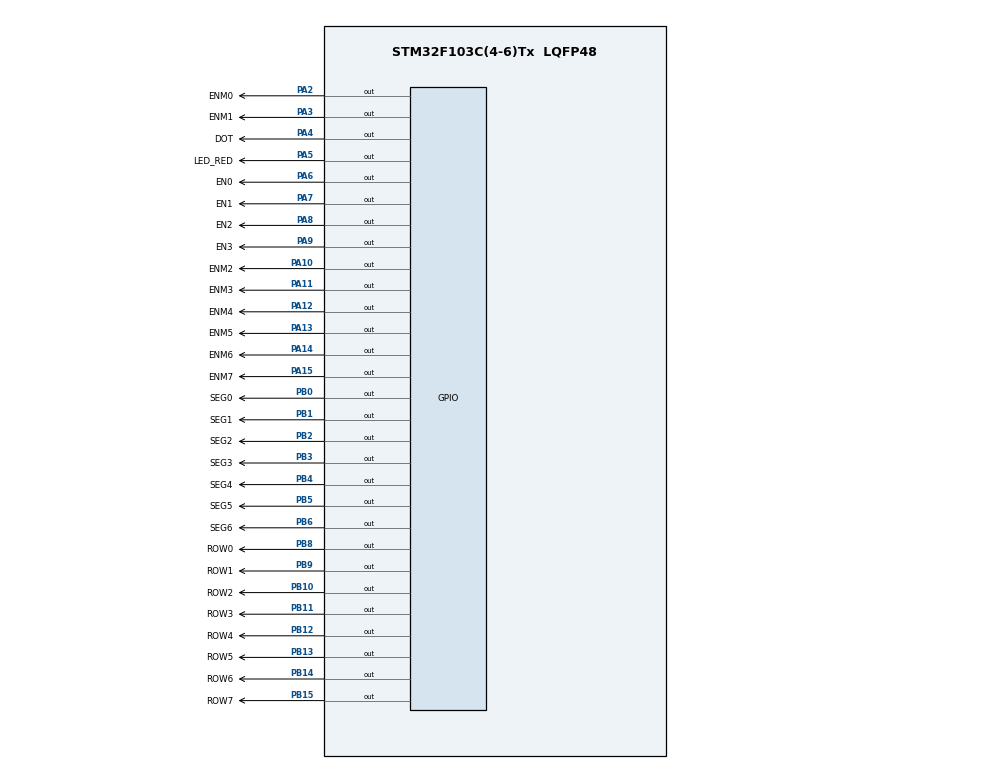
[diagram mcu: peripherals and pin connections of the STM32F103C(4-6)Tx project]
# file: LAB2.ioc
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Mcu.Family=STM32F1
Mcu.Name=STM32F103C(4-6)Tx
Mcu.Package=LQFP48
NVIC.PriorityGroup=NVIC_PRIORITYGROUP_4
NVIC.TIM2_IRQn=true\:0\:0\:false\:false\:true\:true\:true
PA10.GPIO_Label=ENM2
PA10.Signal=GPIO_Output
PA11.GPIO_Label=ENM3
PA11.Signal=GPIO_Output
PA12.GPIO_Label=ENM4
PA12.Signal=GPIO_Output
PA13.GPIO_Label=ENM5
PA13.Signal=GPIO_Output
PA14.GPIO_Label=ENM6
PA14.Signal=GPIO_Output
PA15.GPIO_Label=ENM7
PA15.Signal=GPIO_Output
PA2.GPIO_Label=ENM0
PA2.Signal=GPIO_Output
PA3.GPIO_Label=ENM1
PA3.Signal=GPIO_Output
PA4.GPIO_Label=DOT
PA4.Signal=GPIO_Output
PA5.GPIO_Label=LED_RED
PA5.Signal=GPIO_Output
PA6.GPIO_Label=EN0
PA6.Signal=GPIO_Output
PA7.GPIO_Label=EN1
PA7.Signal=GPIO_Output
PA8.GPIO_Label=EN2
PA8.Signal=GPIO_Output
PA9.GPIO_Label=EN3
PA9.Signal=GPIO_Output
PB0.GPIO_Label=SEG0
PB0.Signal=GPIO_Output
PB1.GPIO_Label=SEG1
PB1.Signal=GPIO_Output
PB10.GPIO_Label=ROW2
PB10.Signal=GPIO_Output
PB11.GPIO_Label=ROW3
PB11.Signal=GPIO_Output
PB12.GPIO_Label=ROW4
PB12.Signal=GPIO_Output
PB13.GPIO_Label=ROW5
PB13.Signal=GPIO_Output
PB14.GPIO_Label=ROW6
PB14.Signal=GPIO_Output
PB15.GPIO_Label=ROW7
PB15.Signal=GPIO_Output
PB2.GPIO_Label=SEG2
PB2.Signal=GPIO_Output
PB3.GPIO_Label=SEG3
PB3.Signal=GPIO_Output
PB4.GPIO_Label=SEG4
PB4.Signal=GPIO_Output
PB5.GPIO_Label=SEG5
PB5.Signal=GPIO_Output
PB6.GPIO_Label=SEG6
PB6.Signal=GPIO_Output
PB8.GPIO_Label=ROW0
PB8.Signal=GPIO_Output
PB9.GPIO_Label=ROW1
PB9.Signal=GPIO_Output
ProjectManager.HeapSize=0x200
ProjectManager.StackSize=0x400
ProjectManager.TargetToolchain=STM32CubeIDE
RCC.APB1Freq_Value=8000000
RCC.APB2Freq_Value=8000000
TIM2.Period=9
TIM2.Prescaler=7999
VP_SYS_VS_ND.Mode=No_Debug
VP_TIM2_VS_ClockSourceINT.Mode=Internal
board=custom

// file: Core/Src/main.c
/* USER CODE BEGIN Header */
/**
  ******************************************************************************
  * @file           : main.c
  * @brief          : Main program body
  ******************************************************************************
  * @attention
  *
  * <h2><center>&copy; Copyright (c) 2024 STMicroelectronics.
  * All rights reserved.</center></h2>
  *
  * This software component is licensed by ST under BSD 3-Clause license,
  * the "License"; You may not use this file except in compliance with the
  * License. You may obtain a copy of the License at:
  *                        opensource.org/licenses/BSD-3-Clause
  *
  ******************************************************************************
  */
/* USER CODE END Header */
#include "main.h"

/* USER CODE BEGIN Includes */
#include "7_segment_led.h"
#include "matrix_led.h"
#include "timer.h"
/* USER CODE END Includes */

TIM_HandleTypeDef htim2;

void SystemClock_Config(void);
static void MX_TIM2_Init(void);
static void MX_GPIO_Init(void);

int main(void)
{

  /* MCU Configuration--------------------------------------------------------*/

  /* Reset of all peripherals, Initializes the Flash interface and the Systick. */
  HAL_Init();

  /* Configure the system clock */
  SystemClock_Config();

  /* Initialize all configured peripherals */
  MX_TIM2_Init();
  MX_GPIO_Init();
  /* USER CODE BEGIN 2 */
  HAL_TIM_Base_Start_IT(&htim2);
  resetAllColumns();
  setTimer(0, 0);
  setTimer(1, 0);
  int idx_col = 0;
  int shiftCounter = 0;
  /* USER CODE END 2 */

  /* Infinite loop */
  while (1)
  {

    /* USER CODE BEGIN 3 */
	  if (timer_flag[0] == 1) {
		  setTimer(0, 2);
		  updateLEDMatrix(idx_col);
		  idx_col++;
		  if (idx_col >= 8) {
			  idx_col = 0;
		  }
	  }
	  if (timer_flag[1] == 1) {
		  setTimer(1, 50);
		  shiftCounter++;
		  if (shiftCounter > 10) {
			  shiftLeft();
			  shiftCounter = 0;
		  }
	  }
  }
  /* USER CODE END 3 */
}

void SystemClock_Config(void)
{
  RCC_OscInitTypeDef RCC_OscInitStruct = {0};
  RCC_ClkInitTypeDef RCC_ClkInitStruct = {0};

  /** Initializes the RCC Oscillators according to the specified parameters
  * in the RCC_OscInitTypeDef structure.
  */
  RCC_OscInitStruct.OscillatorType = RCC_OSCILLATORTYPE_HSI;
  RCC_OscInitStruct.HSIState = RCC_HSI_ON;
  RCC_OscInitStruct.HSICalibrationValue = RCC_HSICALIBRATION_DEFAULT;
  RCC_OscInitStruct.PLL.PLLState = RCC_PLL_NONE;
  if (HAL_RCC_OscConfig(&RCC_OscInitStruct) != HAL_OK)
  {
    Error_Handler();
  }
  /** Initializes the CPU, AHB and APB buses clocks
  */
  RCC_ClkInitStruct.ClockType = RCC_CLOCKTYPE_HCLK|RCC_CLOCKTYPE_SYSCLK
                              |RCC_CLOCKTYPE_PCLK1|RCC_CLOCKTYPE_PCLK2;
  RCC_ClkInitStruct.SYSCLKSource = RCC_SYSCLKSOURCE_HSI;
  RCC_ClkInitStruct.AHBCLKDivider = RCC_SYSCLK_DIV1;
  RCC_ClkInitStruct.APB1CLKDivider = RCC_HCLK_DIV1;
  RCC_ClkInitStruct.APB2CLKDivider = RCC_HCLK_DIV1;

  if (HAL_RCC_ClockConfig(&RCC_ClkInitStruct, FLASH_LATENCY_0) != HAL_OK)
  {
    Error_Handler();
  }
}

static void MX_TIM2_Init(void)
{

  TIM_ClockConfigTypeDef sClockSourceConfig = {0};
  TIM_MasterConfigTypeDef sMasterConfig = {0};

  htim2.Instance = TIM2;
  htim2.Init.Prescaler = 7999;
  htim2.Init.CounterMode = TIM_COUNTERMODE_UP;
  htim2.Init.Period = 9;
  htim2.Init.ClockDivision = TIM_CLOCKDIVISION_DIV1;
  htim2.Init.AutoReloadPreload = TIM_AUTORELOAD_PRELOAD_DISABLE;
  if (HAL_TIM_Base_Init(&htim2) != HAL_OK)
  {
    Error_Handler();
  }
  sClockSourceConfig.ClockSource = TIM_CLOCKSOURCE_INTERNAL;
  if (HAL_TIM_ConfigClockSource(&htim2, &sClockSourceConfig) != HAL_OK)
  {
    Error_Handler();
  }
  sMasterConfig.MasterOutputTrigger = TIM_TRGO_RESET;
  sMasterConfig.MasterSlaveMode = TIM_MASTERSLAVEMODE_DISABLE;
  if (HAL_TIMEx_MasterConfigSynchronization(&htim2, &sMasterConfig) != HAL_OK)
  {
    Error_Handler();
  }

}

static void MX_GPIO_Init(void)
{
  GPIO_InitTypeDef GPIO_InitStruct = {0};

  /* GPIO Ports Clock Enable */
  __HAL_RCC_GPIOA_CLK_ENABLE();
  __HAL_RCC_GPIOB_CLK_ENABLE();

  /*Configure GPIO pin Output Level */
  HAL_GPIO_WritePin(GPIOA, ENM0_Pin|ENM1_Pin|DOT_Pin|LED_RED_Pin
                          |EN0_Pin|EN1_Pin|EN2_Pin|EN3_Pin
                          |ENM2_Pin|ENM3_Pin|ENM4_Pin|ENM5_Pin
                          |ENM6_Pin|ENM7_Pin, GPIO_PIN_RESET);

  /*Configure GPIO pin Output Level */
  HAL_GPIO_WritePin(GPIOB, SEG0_Pin|SEG1_Pin|SEG2_Pin|ROW2_Pin
                          |ROW3_Pin|ROW4_Pin|ROW5_Pin|ROW6_Pin
                          |ROW7_Pin|SEG3_Pin|SEG4_Pin|SEG5_Pin
                          |SEG6_Pin|ROW0_Pin|ROW1_Pin, GPIO_PIN_RESET);

  /*Configure GPIO pins : ENM0_Pin ENM1_Pin DOT_Pin LED_RED_Pin
                           EN0_Pin EN1_Pin EN2_Pin EN3_Pin
                           ENM2_Pin ENM3_Pin ENM4_Pin ENM5_Pin
                           ENM6_Pin ENM7_Pin */
  GPIO_InitStruct.Pin = ENM0_Pin|ENM1_Pin|DOT_Pin|LED_RED_Pin
                          |EN0_Pin|EN1_Pin|EN2_Pin|EN3_Pin
                          |ENM2_Pin|ENM3_Pin|ENM4_Pin|ENM5_Pin
                          |ENM6_Pin|ENM7_Pin;
  GPIO_InitStruct.Mode = GPIO_MODE_OUTPUT_PP;
  GPIO_InitStruct.Pull = GPIO_NOPULL;
  GPIO_InitStruct.Speed = GPIO_SPEED_FREQ_LOW;
  HAL_GPIO_Init(GPIOA, &GPIO_InitStruct);

  /*Configure GPIO pins : SEG0_Pin SEG1_Pin SEG2_Pin ROW2_Pin
                           ROW3_Pin ROW4_Pin ROW5_Pin ROW6_Pin
                           ROW7_Pin SEG3_Pin SEG4_Pin SEG5_Pin
                           SEG6_Pin ROW0_Pin ROW1_Pin */
  GPIO_InitStruct.Pin = SEG0_Pin|SEG1_Pin|SEG2_Pin|ROW2_Pin
                          |ROW3_Pin|ROW4_Pin|ROW5_Pin|ROW6_Pin
                          |ROW7_Pin|SEG3_Pin|SEG4_Pin|SEG5_Pin
                          |SEG6_Pin|ROW0_Pin|ROW1_Pin;
  GPIO_InitStruct.Mode = GPIO_MODE_OUTPUT_PP;
  GPIO_InitStruct.Pull = GPIO_NOPULL;
  GPIO_InitStruct.Speed = GPIO_SPEED_FREQ_LOW;
  HAL_GPIO_Init(GPIOB, &GPIO_InitStruct);

}

/* USER CODE BEGIN 4 */
void HAL_TIM_PeriodElapsedCallback(TIM_HandleTypeDef *htim) {
	timerRun();
}
/* USER CODE END 4 */

void Error_Handler(void)
{
  __disable_irq();
  while (1)
  {
  }
}

/************************ (C) COPYRIGHT STMicroelectronics *****END OF FILE****/
